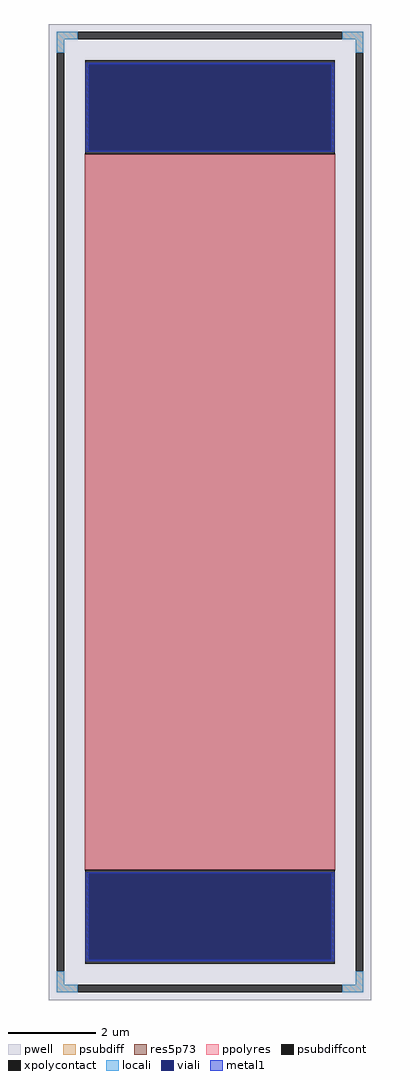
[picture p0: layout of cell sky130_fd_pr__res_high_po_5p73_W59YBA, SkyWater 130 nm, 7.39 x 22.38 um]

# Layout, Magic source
magic
tech sky130A
magscale 1 2
<< pwell >>
rect -739 -2238 739 2238
<< psubdiff >>
rect -703 2168 -607 2202
rect 607 2168 703 2202
rect -703 2106 -669 2168
rect 669 2106 703 2168
rect -703 -2168 -669 -2106
rect 669 -2168 703 -2106
rect -703 -2202 -607 -2168
rect 607 -2202 703 -2168
<< psubdiffcont >>
rect -607 2168 607 2202
rect -703 -2106 -669 2106
rect 669 -2106 703 2106
rect -607 -2202 607 -2168
<< xpolycontact >>
rect -573 1640 573 2072
rect -573 -2072 573 -1640
<< ppolyres >>
rect -573 -1640 573 1640
<< locali >>
rect -703 2168 -607 2202
rect 607 2168 703 2202
rect -703 2106 -669 2168
rect 669 2106 703 2168
rect -703 -2168 -669 -2106
rect 669 -2168 703 -2106
rect -703 -2202 -607 -2168
rect 607 -2202 703 -2168
<< viali >>
rect -557 1657 557 2054
rect -557 -2054 557 -1657
<< metal1 >>
rect -569 2054 569 2060
rect -569 1657 -557 2054
rect 557 1657 569 2054
rect -569 1651 569 1657
rect -569 -1657 569 -1651
rect -569 -2054 -557 -1657
rect 557 -2054 569 -1657
rect -569 -2060 569 -2054
<< res5p73 >>
rect -575 -1642 575 1642
<< properties >>
string FIXED_BBOX -686 -2185 686 2185
string gencell sky130_fd_pr__res_high_po_5p73
string library sky130
string parameters w 5.730 l 16.4 m 1 nx 1 wmin 5.730 lmin 0.50 rho 319.8 val 983.308 dummy 0 dw 0.0 term 194.82 sterm 0.0 caplen 0 guard 1 glc 1 grc 1 gtc 1 gbc 1 compatible {sky130_fd_pr__res_high_po_0p35  sky130_fd_pr__res_high_po_0p69 sky130_fd_pr__res_high_po_1p41  sky130_fd_pr__res_high_po_2p85 sky130_fd_pr__res_high_po_5p73} full_metal 1 wmax 5.730 n_guard 0 hv_guard 0 vias 1 viagb 0 viagt 0 viagl 0 viagr 0
<< end >>
